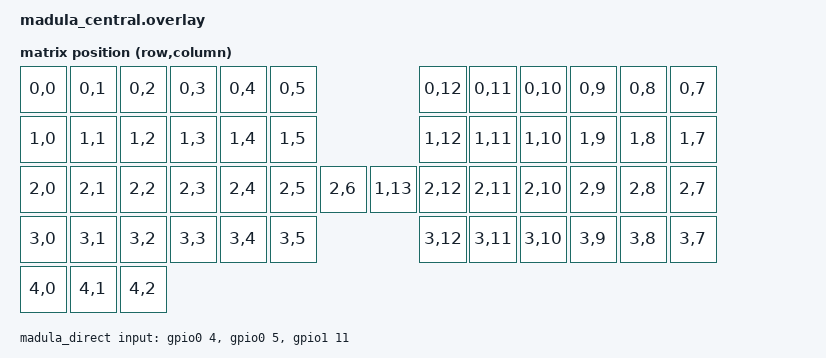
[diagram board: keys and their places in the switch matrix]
#include <dt-bindings/gpio/gpio.h>
#include <dt-bindings/led/led.h>
#include <dt-bindings/zmk/matrix_transform.h>
#include "../../jzf/cornix/cornix_dongle_common.dtsi"

/ {
    chosen {
        zmk,battery = &vbatt;
        zmk,physical-layout = &layout_50;
        zmk,kscan = &madula_kscan;
    };

    aliases {
        status-ws2812 = &madula_led_strip;
    };

    /*
     * SW3/SW4/SW5 are wired independently to S1/S2/S3. The composite row
     * offset places them after the 50 Cornix positions (50, 51, 52).
     */
    madula_kscan: madula_kscan {
        compatible = "zmk,kscan-composite";

        direct {
            row-offset = <4>;
            kscan = <&madula_direct>;
        };
    };

    madula_direct: madula_direct {
        compatible = "zmk,kscan-gpio-direct";
        input-gpios =
            <&gpio0 4 (GPIO_ACTIVE_LOW | GPIO_PULL_UP)>,
            <&gpio0 5 (GPIO_ACTIVE_LOW | GPIO_PULL_UP)>,
            <&gpio1 11 (GPIO_ACTIVE_LOW | GPIO_PULL_UP)>;
    };

    /* Madula QL5 is a high-side P-MOSFET, so LED_EN_L is active low. */
    madula_led_power: EXT_POWER {
        compatible = "zmk,ext-power-generic";
        control-gpios = <&gpio0 3 GPIO_ACTIVE_LOW>;
        init-delay-ms = <10>;
    };
};

/* Keep peripheral positions 0-49 and append the three central direct keys. */
&default_transform {
    rows = <5>;
    map = <
        RC(0,0) RC(0,1) RC(0,2) RC(0,3) RC(0,4) RC(0,5)                   RC(0,12) RC(0,11) RC(0,10) RC(0,9) RC(0,8) RC(0,7)
        RC(1,0) RC(1,1) RC(1,2) RC(1,3) RC(1,4) RC(1,5)                   RC(1,12) RC(1,11) RC(1,10) RC(1,9) RC(1,8) RC(1,7)
        RC(2,0) RC(2,1) RC(2,2) RC(2,3) RC(2,4) RC(2,5) RC(2,6) RC(1,13) RC(2,12) RC(2,11) RC(2,10) RC(2,9) RC(2,8) RC(2,7)
        RC(3,0) RC(3,1) RC(3,2) RC(3,3) RC(3,4) RC(3,5)                   RC(3,12) RC(3,11) RC(3,10) RC(3,9) RC(3,8) RC(3,7)
        RC(4,0) RC(4,1) RC(4,2)
    >;
};

&pinctrl {
    madula_led_spi_default: madula_led_spi_default {
        group1 {
            psels = <NRF_PSEL(SPIM_MOSI, 0, 28)>;
        };
    };

    madula_led_spi_sleep: madula_led_spi_sleep {
        group1 {
            psels = <NRF_PSEL(SPIM_MOSI, 0, 28)>;
            low-power-enable;
        };
    };
};

&spi3 {
    compatible = "nordic,nrf-spim";
    status = "okay";
    pinctrl-0 = <&madula_led_spi_default>;
    pinctrl-1 = <&madula_led_spi_sleep>;
    pinctrl-names = "default", "sleep";

    madula_led_strip: ws2812@0 {
        compatible = "worldsemi,ws2812-spi";
        status = "okay";
        reg = <0>;
        spi-max-frequency = <4000000>;
        chain-length = <1>;
        spi-one-frame = <0x70>;
        spi-zero-frame = <0x40>;
        reset-delay = <280>;
        color-mapping = <LED_COLOR_ID_GREEN LED_COLOR_ID_RED LED_COLOR_ID_BLUE>;
    };
};

&adc {
    status = "okay";
};

/*
 * The ZMK XIAO BLE board variant defines vbatt for the carrier board's
 * divider. Madula has its own divider on A0, so retain Madula's electrical
 * values while reusing the board-provided node label.
 */
&vbatt {
    io-channels = <&adc 0>;
    /delete-property/ power-gpios;
    output-ohms = <1000000>;
    full-ohms = <1000000>;
};

/*
 * XIAO connector defaults occupy every Madula J4 signal: UART TX uses P1.12,
 * while SPI2 uses P1.13/P1.14/P1.15. I2C1 also claims connector pins used by
 * Madula's direct keys. Module snippets enable only their dedicated spi0 or
 * i2c0 controller when required.
 */
&xiao_serial {
    status = "disabled";
};

&xiao_spi {
    status = "disabled";
};

&xiao_i2c {
    status = "disabled";
};
